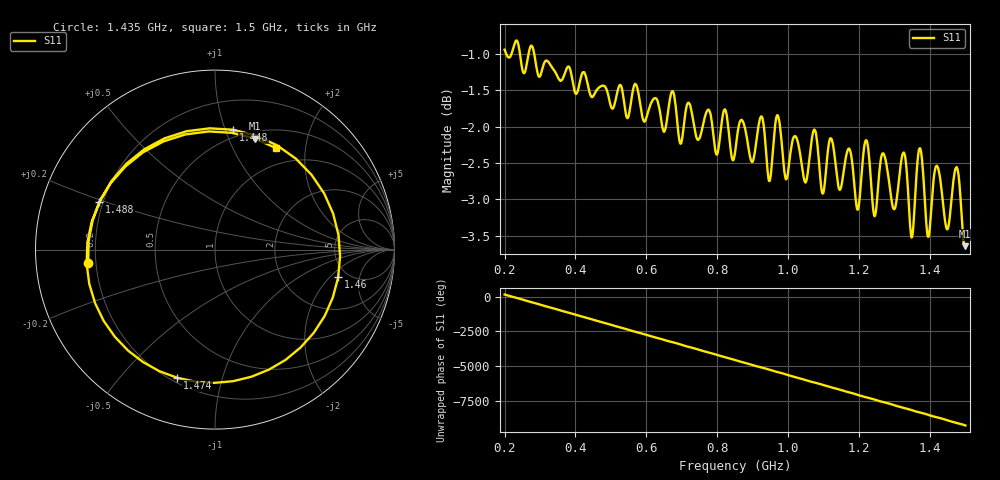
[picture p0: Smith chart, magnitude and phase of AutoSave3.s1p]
!Agilent N9923A: A.05.17
!Date: Sunday, 01 January 2006 13:15:08
!Model: N9923A
!Serial: MY50371189
!CHECKSUM:1578715050
!Correction: S11(ON U)
!S1P File: Measurement: S11:
# Hz S RI R 50
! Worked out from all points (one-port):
!   1001 points, 200 MHz to 1.5 GHz, reference 50 ohm
!   lowest |S11| = -3.6 dB at 1.499 GHz (marker M1), VSWR 4.84, Z = 28.8 + j62.7 ohm
!   |S11| at or under -10 dB: nowhere
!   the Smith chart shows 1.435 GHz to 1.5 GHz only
!   S11 on the Smith chart (normalised r, x): 1.435 GHz: 0.17, -0.05; 1.448 GHz: 0.43, +1.07; 1.46 GHz: 4.13, -2.53; 1.474 GHz: 0.23, -0.72; 1.488 GHz: 0.19, +0.19; 1.5 GHz: 0.75, +1.50
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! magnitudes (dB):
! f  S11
! 200 MHz  -0.9
! 362.5 MHz  -1.4
! 525 MHz  -1.4
! 687.5 MHz  -2.0
! 850 MHz  -2.4
! 1.012 GHz  -2.2
! 1.049 GHz  -2.8
! 1.075 GHz  -2.0
! 1.097 GHz  -2.9
! 1.119 GHz  -2.2
! 1.145 GHz  -2.9
! 1.175 GHz  -2.3
! 1.196 GHz  -3.1
! 1.219 GHz  -2.2
! 1.244 GHz  -3.2
! 1.267 GHz  -2.4
! 1.337 GHz  -2.8
! 1.351 GHz  -3.5
! 1.371 GHz  -2.3
! 1.395 GHz  -3.5
! 1.417 GHz  -2.5
! 1.435 GHz  -3.0
! 1.448 GHz  -3.4
! 1.46 GHz  -3.1
! 1.474 GHz  -2.6
! 1.488 GHz  -3.1
! 1.499 GHz  -3.6
! 1.5 GHz  -3.6
